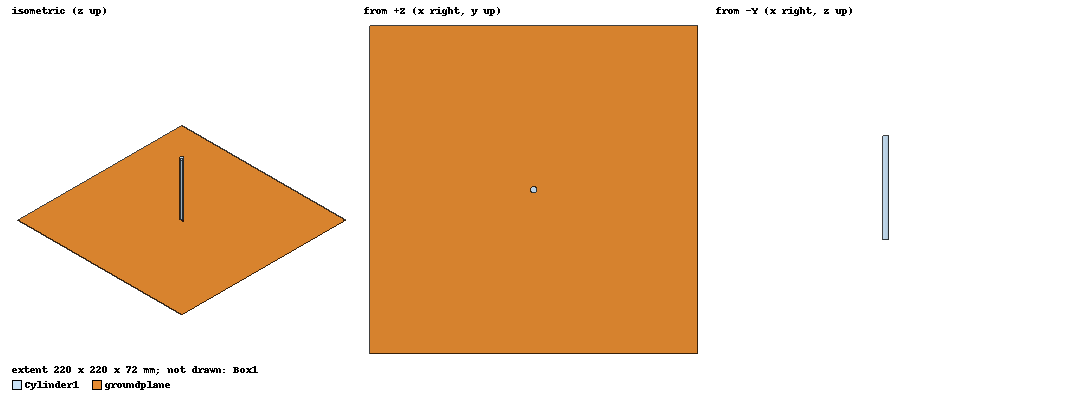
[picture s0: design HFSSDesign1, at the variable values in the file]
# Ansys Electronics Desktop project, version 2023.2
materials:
  vacuum: permittivity=1
  pec: conductivity=1e+30

design HFSSDesign1 (HFSS, HFSS Terminal Network, model units mm)
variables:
  PG = 2.232mm
  MR = 2.232mm  # optimise 1.116mm..3.348mm
  ML = 72mm  # optimise 36mm..108mm
  PL = 220mm
  LX = 300mm
  LY = 300mm
  H = 300mm
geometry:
  Cylinder1 [vacuum] = cylinder(axis=Z, base_centre=(0mm, 0mm, PG), radius=MR, height=ML-PG)
  port = rectangle(corner=(0mm, -MR, 0mm), y_size=MR*2, z_size=PG)
  groundplane = rectangle(corner=(-PL/2, -PL/2, 0mm), x_size=PL, y_size=PL)
  Box1 [vacuum] = box(corner=(-LX/2, -LY/2, -H/2), size=(LX, LY, H))
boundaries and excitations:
  PerfE1: Perfect E Objects=groundplane
  Rad1: Radiation Objects=Box1
  1: Lumped Port Objects=port LumpedPortType=Modal Modes{Mode1{IntLine{(0, 0, 0) -> (0, 0, 2.232)} CharImp=Zpi}} Impedance=50ohm
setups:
  Setup1: HfssDriven Frequency=0.9GHz MaxDeltaS=0.02 MaximumPasses=15 MinimumPasses=1 MinimumConvergedPasses=1 PercentRefinement=30 BasisOrder=1 PortAccuracy=2 DrivenSolverType="Direct Solver"
    sweep Sweep: 0.5GHz to 1.15GHz, 401 points; Type=Fast SaveFields
  Setup2: HfssDriven Frequency=5GHz MaxDeltaS=0.02 MaximumPasses=18 MinimumPasses=1 MinimumConvergedPasses=1 PercentRefinement=30 BasisOrder=1 PortAccuracy=2 DrivenSolverType="Direct Solver"
    sweep Sweep: 2GHz to 3GHz, 201 points; Type=Interpolating InterpTolerance=0.5 InterpMaxSolns=250 PassivityErrorTolerance=0.0001
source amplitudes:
  1:1: 1V 0deg
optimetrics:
  ParametricSetup1: Parametric Sim._Setups=[Setup1]
    sweep ML: LIN 5mm 150mm 10mm
  OptimizationSetup1: Optimization Optimizer="Quasi Newton" AnalysisStopOptions{StopForNumIteration MaxNumIteration=1000 MinNumIteration=10} CostFuncNormType=L2 Acceptable_Cost=0 Noise=0.0001 UpdateDesignWhenDone
    goal dB(St(1,1)) <= -20 weight 1 on Setup1 : Sweep at Freq 0.5GHz to 1.15GHz
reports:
  Terminal S Parameter Plot 1: dB(St(1,1)) vs Freq on Setup1 : Sweep
